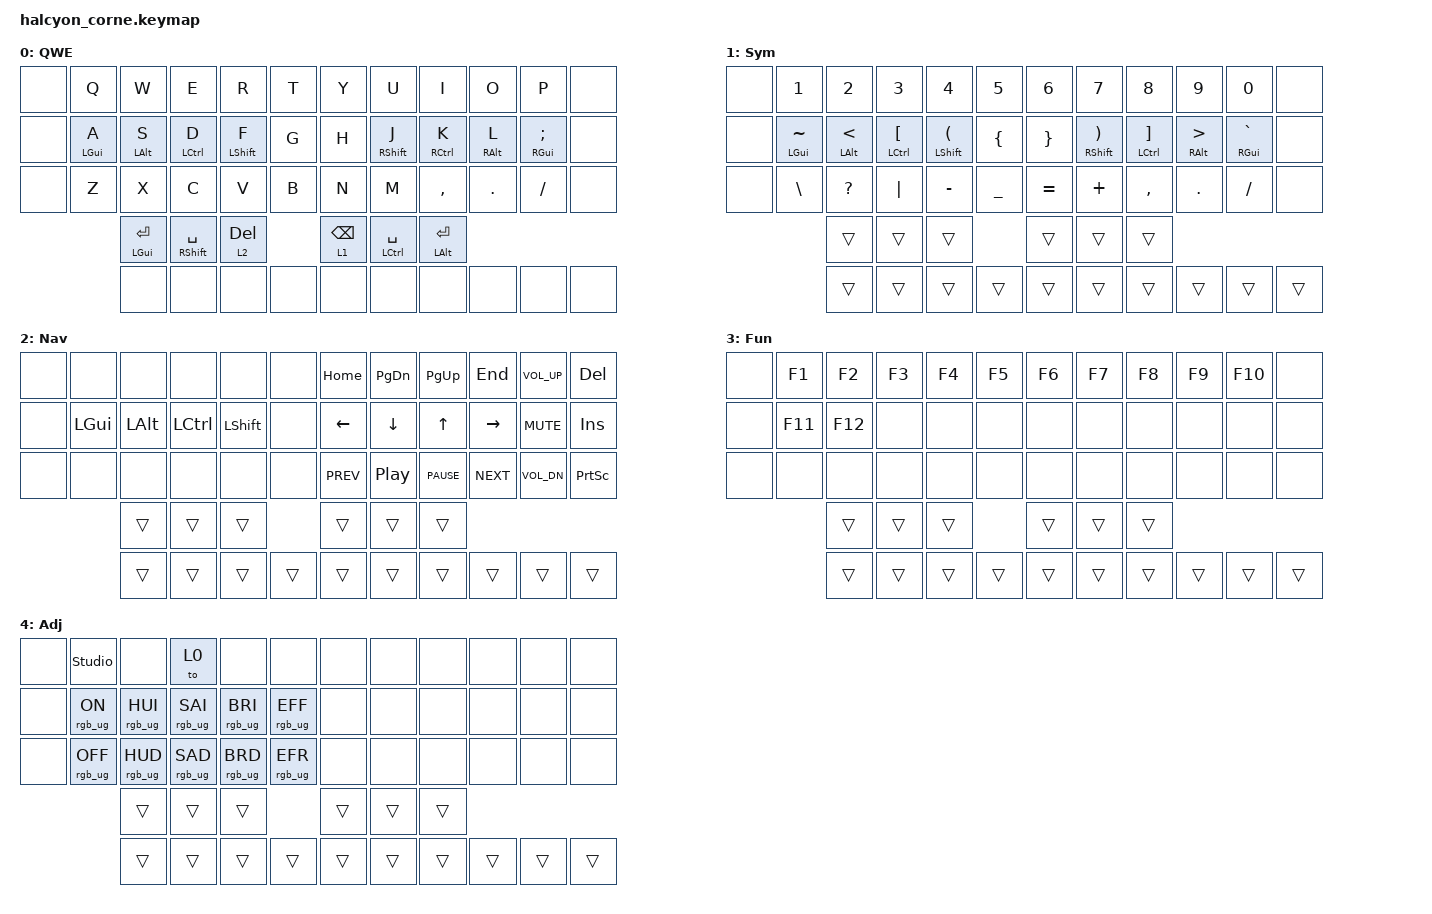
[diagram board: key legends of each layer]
/*
 * Copyright (c) 2020 The ZMK Contributors
 *
 * SPDX-License-Identifier: MIT
 */

#include <behaviors.dtsi>
#include <dt-bindings/zmk/keys.h>
#include <dt-bindings/zmk/bt.h>
#include <dt-bindings/zmk/rgb.h>

/ {
    behaviors {
        // Home-row mods: opposite-hand taps trigger holds before the timeout.
        // Evaluate on release so same-hand modifiers can be held together.
        // Holding a mod alone past 280 ms still allows same-hand shortcuts.
        hml: home_row_mod_left {
            compatible = "zmk,behavior-hold-tap";
            #binding-cells = <2>;
            flavor = "balanced";
            tapping-term-ms = <280>;
            bindings = <&kp>, <&kp>;
            // Right half: three rows, then its three thumb keys (zero-based).
            hold-trigger-key-positions = <6 7 8 9 10 11
                                          18 19 20 21 22 23
                                          30 31 32 33 34 35
                                          39 40 41>;
            hold-trigger-on-release;
        };

        hmr: home_row_mod_right {
            compatible = "zmk,behavior-hold-tap";
            #binding-cells = <2>;
            flavor = "balanced";
            tapping-term-ms = <280>;
            bindings = <&kp>, <&kp>;
            // Left half: three rows, then its three thumb keys (zero-based).
            hold-trigger-key-positions = <0 1 2 3 4 5
                                          12 13 14 15 16 17
                                          24 25 26 27 28 29
                                          36 37 38>;
            hold-trigger-on-release;
        };
    };

    combos {
        compatible = "zmk,combos";
        combo_sd {
            timeout-ms = <50>;
            key-positions = <14 15>;
            bindings = <&kp TAB>;
        };
        combo_df {
            timeout-ms = <50>;
            key-positions = <15 16>;
            bindings = <&kp ESC>;
        };
        combo_jk {
            timeout-ms = <50>;
            key-positions = <19 20>;
            bindings = <&kp DQT>;
        };
        combo_kl {
            timeout-ms = <50>;
            key-positions = <20 21>;
            bindings = <&kp SQT>;
        };
        // Hold both inner thumbs (Nav/Del + Sym/Backspace) for Function.
        combo_fun {
            timeout-ms = <100>;
            key-positions = <38 39>;
            layers = <0>;
            bindings = <&mo 3>;
        };
        // Hold both outer thumbs (the two Enter keys) for Adjust.
        combo_adj {
            timeout-ms = <100>;
            key-positions = <36 41>;
            layers = <0>;
            bindings = <&mo 4>;
        };
    };

    syncmod: syncmod {
        compatible = "zmk,behavior-sync-mods";
        #binding-cells = <1>;
        label = "syncmod";
    };
    synclyr: synclyr {
        compatible = "zmk,behavior-sync-layer";
        #binding-cells = <1>;
        label = "synclyr";
    };
};

/ {
    keymap {
        compatible = "zmk,keymap";

        default_layer {
            display-name = "QWE";
// -----------------------------------------------------------------------------------------
// |      |  Q  |  W  |  E  |  R  |  T  |   |  Y  |  U  |  I  |  O  |  P  |      |
// |      |GUI/A|Alt/S|Ctl/D|Shf/F|  G  |   |  H  |Shf/J|Ctl/K|Alt/L|GUI/;|      |
// |      |  Z  |  X  |  C  |  V  |  B  |   |  N  |  M  |  ,  |  .  |  /  |      |
//                    | GUI |Shf/ |Nav/ |   |Sym/ |Ctl/ |Alt/ |
//                    | Ent |Spc  |Del  |   |Bsp  |Spc  |Ent  |
            bindings = <
&none &kp Q       &kp W       &kp E        &kp R        &kp T   &kp Y &kp U        &kp I        &kp O       &kp P          &none
&none &hml LGUI A &hml LALT S &hml LCTRL D &hml LSHFT F &kp G   &kp H &hmr RSHFT J &hmr RCTRL K &hmr RALT L &hmr RGUI SEMI &none
&none &kp Z       &kp X       &kp C        &kp V        &kp B   &kp N &kp M        &kp COMMA    &kp DOT     &kp FSLH       &none

                 &mt LGUI ENTER &mt RSHFT SPACE &lt 2 DEL   &lt 1 BSPC &mt LCTRL SPACE &mt LALT ENTER
                 &none &none &none &none &none              &none &none &none &none &none
            >;
        };
        sym_layer {
            display-name = "Sym";
// -----------------------------------------------------------------------------------------
// |      |  1  |  2  |  3  |  4  |  5  |   |  6  |  7  |  8  |  9  |  0  |      |
// |      |GUI/~|Alt/<|Ctl/[|Shf/(|  {  |   |  }  |Shf/)|Ctl/]|Alt/>|GUI/`|      |
// |      |  \  |  ?  |  |  |  -  |  _  |   |  =  |  +  |  ,  |  .  |  /  |      |
//                    |     |     |     |   |     |     |     |
//                    |     |     |     |   |     |     |     |
            bindings = <
&none &kp N1          &kp N2       &kp N3          &kp N4          &kp N5    &kp N6    &kp N7          &kp N8          &kp N9       &kp N0          &none
&none &hml LGUI TILDE &hml LALT LT &hml LCTRL LBKT &hml LSHFT LPAR &kp LBRC  &kp RBRC  &hmr RSHFT RPAR &hmr LCTRL RBKT &hmr RALT GT &hmr RGUI GRAVE &none
&none &kp BSLH        &kp QUESTION &kp PIPE        &kp MINUS       &kp UNDER &kp EQUAL &kp PLUS        &kp COMMA       &kp DOT      &kp FSLH        &none

               &trans &trans &trans                                       &trans &trans &trans
               &trans &trans &trans &trans &trans                         &trans &trans &trans &trans &trans
            >;
        };

        nav_layer {
            display-name = "Nav";
// -----------------------------------------------------------------------------------------
// |      |     |     |     |     |     |   |Home |PgDn |PgUp |End  |VolUp|Del  |
// |      | GUI | Alt | Ctrl|Shift|     |   |Left |Down | Up  |Right|Mute |Ins  |
// |      |     |     |     |     |     |   |Prev |Play |Pause|Next |VolDn|PrtSc|
//                    |     |     |     |   |     |     |     |
//                    |     |     |     |   |     |     |     |
            bindings = <
&none &none    &none    &none     &none     &none   &kp HOME   &kp PG_DN        &kp PG_UP   &kp END    &kp C_VOL_UP &kp DEL
&none &kp LGUI &kp LALT &kp LCTRL &kp LSHFT &none   &kp LEFT   &kp DOWN         &kp UP      &kp RIGHT  &kp C_MUTE   &kp INS
&none &none    &none    &none     &none     &none   &kp C_PREV &kp C_PLAY_PAUSE &kp C_PAUSE &kp C_NEXT &kp C_VOL_DN &kp PSCRN

               &trans &trans &trans                 &trans &trans &trans
               &trans &trans &trans &trans &trans   &trans &trans &trans &trans &trans
            >;
        };

        function_layer {
            display-name = "Fun";
// -----------------------------------------------------------------------------------------
// |      |  F1 |  F2 |  F3 |  F4 |  F5 |   |  F6 |  F7 |  F8 |  F9 | F10 |      |
// |      | F11 | F12 |     |     |     |   |     |     |     |     |     |      |
// |      |     |     |     |     |     |   |     |     |     |     |     |      |
//                    |     |     |     |   |     |     |     |
//                    |     |     |     |   |     |     |     |
            bindings = <
&none &kp F1  &kp F2  &kp F3 &kp F4 &kp F5   &kp F6 &kp F7 &kp F8 &kp F9 &kp F10 &none
&none &kp F11 &kp F12 &none  &none  &none    &none  &none  &none  &none  &none   &none
&none &none   &none   &none  &none  &none    &none  &none  &none  &none  &none  &none

      &trans &trans &trans                   &trans &trans &trans
      &trans &trans &trans &trans &trans     &trans &trans &trans &trans &trans
            >;
        };

        adjust_layer {
            display-name = "Adj";
// -----------------------------------------------------------------------------------------
// |      |STDIO| MAC |QWERTY|     |     |   |     |     |     |     |     |     |
// |      |RGBON|RGBHU|RGBSA|RGBBR|RGBEF|   |     |     |     |     |     |     |
// |      |RGBOF|RGBHD|RGBSD|RGBBD|RGBER|   |     |     |     |     |     |     |
//                    |     |     |     |   |     |     |     |
//                    |     |     |     |   |     |     |     |
            bindings = <
&none &studio_unlock &none   &to 0 &none &none   &none &none &none &none &none &none
&none &rgb_ug RGB_ON &rgb_ug RGB_HUI &rgb_ug RGB_SAI &rgb_ug RGB_BRI &rgb_ug RGB_EFF   &none &none &none &none &none &none
&none &rgb_ug RGB_OFF &rgb_ug RGB_HUD &rgb_ug RGB_SAD &rgb_ug RGB_BRD &rgb_ug RGB_EFR   &none &none &none &none &none &none
               &trans &trans &trans   &trans &trans &trans

&trans &trans &trans &trans &trans                          &trans &trans &trans &trans &trans
            >;
        };
    };
};
